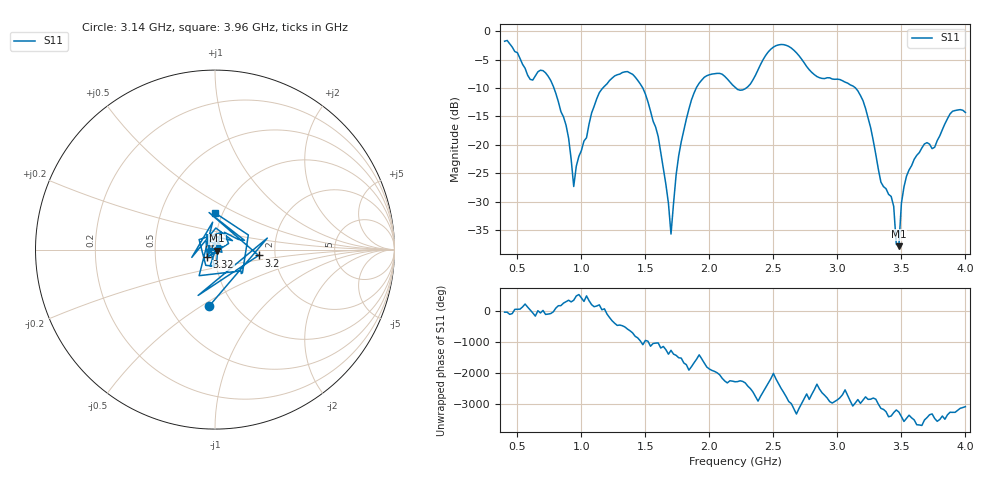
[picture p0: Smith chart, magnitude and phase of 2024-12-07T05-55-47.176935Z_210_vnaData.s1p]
!Created with skrf (http://scikit-rf.org).
# Hz S RI R 50.0
!freq ReS11 ImS11
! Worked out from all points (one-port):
!   181 points, 400 MHz to 4 GHz, reference 50 ohm
!   lowest |S11| = -37.8 dB at 3.48 GHz (marker M1), VSWR 1.03, Z = 51.1 - j0.689 ohm
!   |S11| at or under -10 dB: 785.2 MHz to 1.167 GHz (382.2 MHz wide, 39.2 % of centre); 1.48 GHz to 1.897 GHz (417.5 MHz wide, 24.7 % of centre); 3.142 GHz to end of sweep (the widest 3 of 4)
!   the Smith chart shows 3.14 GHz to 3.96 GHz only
!   S11 on the Smith chart (normalised r, x): 3.14 GHz: 0.77, -0.54; 3.2 GHz: 1.64, -0.11; 3.32 GHz: 0.91, -0.08; 3.96 GHz: 0.92, +0.39
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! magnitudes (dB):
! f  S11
! 400 MHz  -1.8
! 600 MHz  -8.5
! 720 MHz  -7.3
! 860 MHz  -15.1
! 900 MHz  -18.8
! 940 MHz  -27.3
! 1.12 GHz  -11.9
! 1.3 GHz  -7.6
! 1.52 GHz  -12.4
! 1.6 GHz  -18.5
! 1.7 GHz  -35.6
! 1.76 GHz  -21.9
! 1.92 GHz  -9.2
! 2.2 GHz  -9.8
! 2.5 GHz  -2.8
! 2.66 GHz  -3.4
! 3.1 GHz  -9.4
! 3.14 GHz  -9.9
! 3.2 GHz  -12.2
! 3.32 GHz  -24.3
! 3.42 GHz  -29.0
! 3.44 GHz  -30.8
! 3.46 GHz  -37.4
! 3.48 GHz  -37.8
! 3.5 GHz  -30.3
! 3.56 GHz  -24.4
! 3.96 GHz  -13.8
! 4 GHz  -14.3
